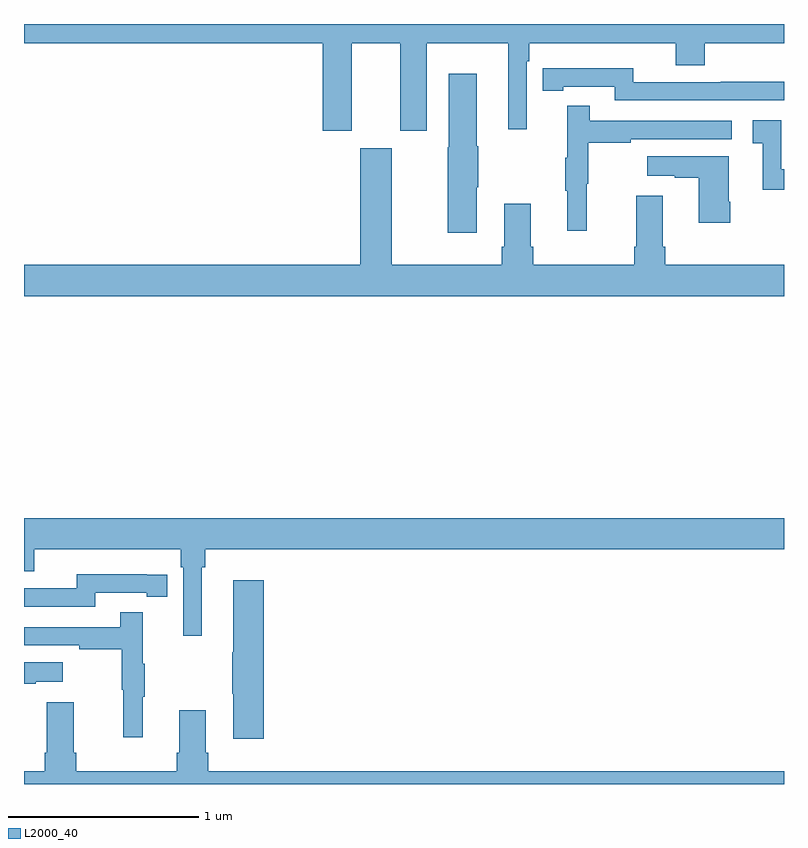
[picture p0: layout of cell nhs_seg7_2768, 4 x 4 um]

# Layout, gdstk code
import gdstk
lib = gdstk.Library(unit=1e-6, precision=1e-09)
def P(c, l, *ps):  # polygons
    for p in ps: c.add(gdstk.Polygon(p, *l))
L2000_40 = (2000, 40)

nhs_seg7_2768 = lib.new_cell('nhs_seg7_2768')
P(nhs_seg7_2768, L2000_40, [(290.725,1049.9),(290.981,1049.9),(290.981,1049.439),(291.121,1049.439),(291.121,1049.9),(291.548,1049.9),(291.548,1049.445),(291.645,1049.445),(291.645,1049.804),(291.659,1049.804),(291.659,1049.9),(292.43,1049.9),(292.43,1049.783),(292.583,1049.783),(292.583,1049.9),(293,1049.9),(293,1050),(289,1050),(289,1049.9),(290.573,1049.9),(290.573,1049.439),(290.725,1049.439)],
  [(293,1049.696),(292.666,1049.696),(292.666,1049.694),(292.206,1049.694),(292.206,1049.767),(291.838,1049.767),(291.838,1049.766),(291.73,1049.766),(291.73,1049.65),(291.838,1049.65),(291.838,1049.67),(292.11,1049.67),(292.11,1049.598),(293,1049.598)],
  [(291.382,1049.14),(291.39,1049.14),(291.39,1049.357),(291.382,1049.357),(291.382,1049.737),(291.236,1049.737),(291.236,1049.351),(291.229,1049.351),(291.229,1048.902),(291.382,1048.902)],
  [(291.962,1049.16),(291.97,1049.16),(291.97,1049.374),(292.193,1049.374),(292.193,1049.394),(292.726,1049.394),(292.726,1049.49),(291.977,1049.49),(291.977,1049.569),(291.86,1049.569),(291.86,1049.297),(291.849,1049.297),(291.849,1049.123),(291.86,1049.123),(291.86,1048.911),(291.962,1048.911)],
  [(293,1049.235),(292.986,1049.235),(292.986,1049.494),(292.836,1049.494),(292.836,1049.373),(292.889,1049.373),(292.889,1049.127),(293,1049.127)],
  [(293,1048.732),(292.376,1048.732),(292.376,1048.828),(292.363,1048.828),(292.363,1049.095),(292.223,1049.095),(292.223,1048.828),(292.211,1048.828),(292.211,1048.732),(291.68,1048.732),(291.68,1048.828),(291.667,1048.828),(291.667,1049.053),(291.527,1049.053),(291.527,1048.828),(291.515,1048.828),(291.515,1048.732),(290.935,1048.732),(290.935,1049.347),(290.771,1049.347),(290.771,1048.732),(289,1048.732),(289,1048.568),(293,1048.568)],
  [(292.716,1049.065),(292.708,1049.065),(292.708,1049.305),(292.281,1049.305),(292.281,1049.201),(292.424,1049.201),(292.424,1049.191),(292.55,1049.191),(292.55,1048.953),(292.716,1048.953)],
  [(289.936,1047.14),(289.955,1047.14),(289.955,1047.236),(293,1047.236),(293,1047.4),(289,1047.4),(289,1047.119),(289.054,1047.119),(289.054,1047.236),(289.826,1047.236),(289.826,1047.14),(289.839,1047.14),(289.839,1046.781),(289.936,1046.781)],
  [(289.374,1047.006),(289.646,1047.006),(289.646,1046.986),(289.754,1046.986),(289.754,1047.102),(289.646,1047.102),(289.646,1047.103),(289.278,1047.103),(289.278,1047.03),(289,1047.03),(289,1046.934),(289.374,1046.934)],
  [(290.261,1047.073),(290.102,1047.073),(290.102,1046.693),(290.095,1046.693),(290.095,1046.476),(290.102,1046.476),(290.102,1046.238),(290.261,1046.238)],
  [(289.625,1046.459),(289.636,1046.459),(289.636,1046.633),(289.625,1046.633),(289.625,1046.905),(289.507,1046.905),(289.507,1046.826),(289,1046.826),(289,1046.73),(289.291,1046.73),(289.291,1046.71),(289.515,1046.71),(289.515,1046.496),(289.522,1046.496),(289.522,1046.247),(289.625,1046.247)],
  [(289.061,1046.537),(289.204,1046.537),(289.204,1046.641),(289,1046.641),(289,1046.527),(289.061,1046.527)],
  [(293,1046.068),(289.97,1046.068),(289.97,1046.164),(289.957,1046.164),(289.957,1046.389),(289.817,1046.389),(289.817,1046.164),(289.805,1046.164),(289.805,1046.068),(289.274,1046.068),(289.274,1046.164),(289.261,1046.164),(289.261,1046.43),(289.121,1046.43),(289.121,1046.164),(289.109,1046.164),(289.109,1046.068),(289,1046.068),(289,1046),(293,1046)])

lib.write_gds('nhs_seg7_2768.gds')
